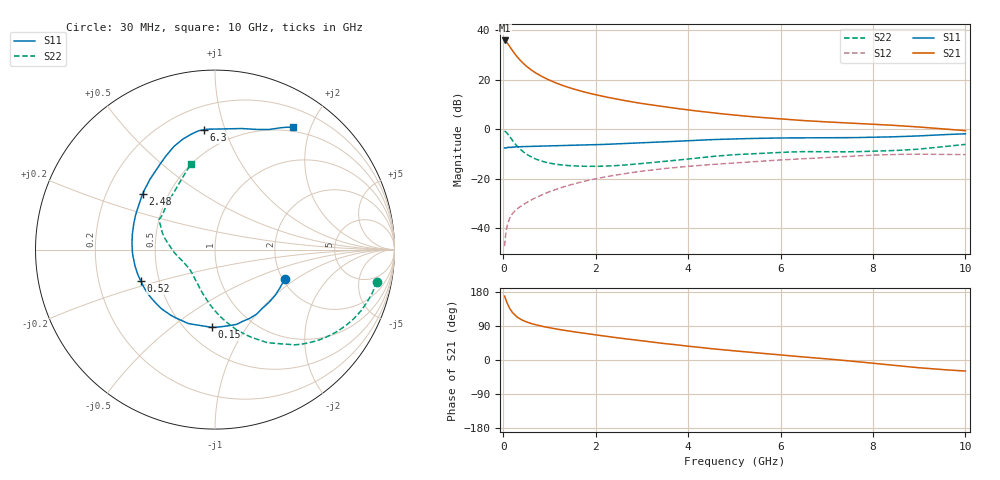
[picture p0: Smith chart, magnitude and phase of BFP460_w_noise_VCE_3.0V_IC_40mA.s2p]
! (c) 2016  Infineon Technologies AG, Munich
! Infineon Technologies  Discrete & RF Semiconductors
! BFP460
! VCE =  3.0 V,  IC =  40 mA
! Common Emitter S-Parameters:  Jan 2016
# GHz  S  MA  R  50
!  f  S11  S21  S12  S22
! GHz  MAG  ANG  MAG  ANG  MAG  ANG  MAG  ANG
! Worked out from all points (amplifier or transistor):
!   229 points, 30 MHz to 10 GHz, reference 50 ohm
!   highest |S21| = 35.8 dB at 30 MHz (marker M1)
!   |S21| within 3 dB of that: start of sweep to 160.6 MHz
!   unconditionally stable (mu >= 1): 1.301 GHz to 7.581 GHz
!   at 280 MHz: K = 0.58, MSG = 31.1 dB, |S12| = -32.5 dB
!   at 1.78 GHz: K = 1.02, MAG = 16.9 dB, |S12| = -20.9 dB
!   at 10 GHz: K = 0.97, MSG = 4.8 dB, |S12| = -10.2 dB
!   lowest NFmin = 1.63 dB at 3.5 GHz
!   S11 on the Smith chart (normalised r, x): 30 MHz: 2.06, -0.81; 150 MHz: 0.66, -0.71; 520 MHz: 0.39, -0.17; 2.48 GHz: 0.36, +0.30; 6.3 GHz: 0.35, +0.85; 10 GHz: 0.44, +1.74
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0.03  0.4219 -22.6  61.75 168.8  0.0044 83.5  0.918 -11.2
0.05  0.421 -37.3  59.52 161.3  0.0072 80.1  0.8972 -18.9
0.07  0.4207 -51.6  57.37 154.6  0.0095 75.2  0.8643 -26.4
0.09  0.4295 -63.6  54.41 148.7  0.0118 70.8  0.8228 -33.3
0.12  0.4312 -79.4  49.75 140.8  0.0146 66.5  0.7569 -42.4
0.15  0.4335 -92.5  45.18 134.0  0.0169 63.2  0.6916 -50.1
0.2  0.4379 -109.7  38.63 125.2  0.02 60.1  0.5957 -60.6
0.24  0.4389 -120.0  34.3 120.1  0.0219 58.7  0.5331 -67.0
0.3  0.4444 -132.0  29.02 113.4  0.0247 58.0  0.4576 -75.5
0.4  0.4474 -146.0  22.86 105.9  0.0289 58.3  0.3718 -85.9
0.52  0.4492 -157.1  18.17 99.9  0.034 59.6  0.3083 -95.1
0.7  0.455 -168.6  13.72 93.0  0.0417 61.2  0.252 -106.1
1  0.4619 178.6  9.761 85.1  0.055 62.5  0.208 -119.3
1.3  0.4686 169.3  7.564 78.8  0.0687 62.1  0.1896 -128.9
1.7  0.4789 158.9  5.823 71.5  0.0869 60.4  0.1802 -138.8
2.48  0.5086 142.3  4.018 58.5  0.1215 54.7  0.1861 -156.2
3.4  0.5525 126.4  2.917 44.9  0.1581 46.6  0.2212 -173.7
5.1  0.6439 105.3  1.896 23.1  0.2128 33.2  0.3105 161.6
6.3  0.6705 95.4  1.544 10.2  0.249 23.9  0.3493 152.7
6.8  0.6712 91.0  1.443 5.1  0.2634 20.4  0.3529 150.6
8.4  0.7034 72.4  1.208 -13.4  0.3096 5.9  0.3711 134.9
10  0.8103 57.4  0.938 -29.1  0.3089 -6.8  0.4953 105.7
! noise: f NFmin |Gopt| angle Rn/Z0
0.45  1.67  0.27  -170  0.11
0.9  1.7  0.24  -162  0.13
1.9  1.79  0.34  -141  0.14
3.5  1.63  0.57  -118  0.22
